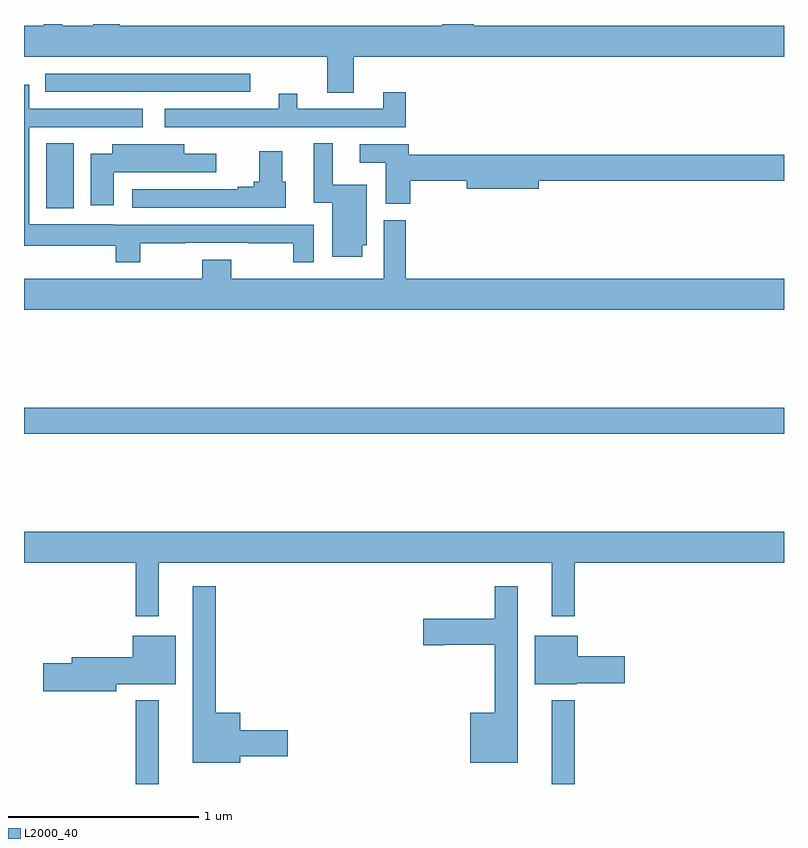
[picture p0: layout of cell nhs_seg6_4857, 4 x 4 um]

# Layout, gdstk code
import gdstk
lib = gdstk.Library(unit=1e-6, precision=1e-09)
def R(c, l, rs):  # rectangles x0, y0, x1, y1
    for r in rs: c.add(gdstk.rectangle(r[:2], r[2:], *l))
def P(c, l, *ps):  # polygons
    for p in ps: c.add(gdstk.Polygon(p, *l))
L2000_40 = (2000, 40)

nhs_seg6_4857 = lib.new_cell('nhs_seg6_4857')
R(nhs_seg6_4857, L2000_40, [(399.588,951.5,399.709,951.94), (401.777,951.5,401.899,951.94), (399,953.344,403,953.48), (399.116,954.531,399.262,954.872), (399.113,955.143,400.192,955.239)])
P(nhs_seg6_4857, L2000_40, [(400.735,955.328),(403,955.328),(403,955.492),(401.366,955.492),(401.366,955.5),(401.201,955.5),(401.201,955.492),(399.505,955.492),(399.505,955.5),(399.365,955.5),(399.365,955.492),(399.202,955.492),(399.202,955.5),(399.105,955.5),(399.105,955.492),(399,955.492),(399,955.328),(400.595,955.328),(400.595,955.138),(400.735,955.138)],
  [(399.613,954.347),(399.848,954.347),(399.848,954.348),(400.18,954.348),(400.18,954.347),(400.416,954.347),(400.416,954.245),(400.524,954.245),(400.524,954.444),(399.468,954.444),(399.468,954.445),(399.028,954.445),(399.028,954.957),(399.625,954.957),(399.625,955.053),(399.028,955.053),(399.028,955.18),(399,955.18),(399,954.332),(399.484,954.332),(399.484,954.245),(399.613,954.245)],
  [(401.009,955.141),(400.892,955.141),(400.892,955.053),(400.438,955.053),(400.438,955.132),(400.34,955.132),(400.34,955.053),(399.741,955.053),(399.741,954.957),(401.009,954.957)],
  [(400.78,954.336),(400.804,954.336),(400.804,954.654),(400.624,954.654),(400.624,954.872),(400.526,954.872),(400.526,954.558),(400.622,954.558),(400.622,954.276),(400.78,954.276)],
  [(399.472,954.719),(399.74,954.719),(399.74,954.72),(400.012,954.72),(400.012,954.817),(399.844,954.817),(399.844,954.868),(399.464,954.868),(399.464,954.817),(399.35,954.817),(399.35,954.546),(399.472,954.546)],
  [(401.034,954.676),(401.33,954.676),(401.33,954.634),(401.71,954.634),(401.71,954.676),(403,954.676),(403,954.812),(401.026,954.812),(401.026,954.867),(400.767,954.867),(400.767,954.771),(400.904,954.771),(400.904,954.553),(401.034,954.553)],
  [(400.378,954.669),(400.36,954.669),(400.36,954.829),(400.238,954.829),(400.238,954.669),(400.208,954.669),(400.208,954.643),(400.124,954.643),(400.124,954.63),(399.57,954.63),(399.57,954.534),(400.378,954.534)],
  [(403,954.16),(401.009,954.16),(401.009,954.468),(400.893,954.468),(400.893,954.16),(400.092,954.16),(400.092,954.259),(399.937,954.259),(399.937,954.16),(399,954.16),(399,953.996),(403,953.996)],
  [(399.709,952.664),(401.777,952.664),(401.777,952.383),(401.899,952.383),(401.899,952.664),(403,952.664),(403,952.828),(399,952.828),(399,952.664),(399.588,952.664),(399.588,952.383),(399.709,952.383)],
  [(400.138,951.647),(400.387,951.647),(400.387,951.782),(400.138,951.782),(400.138,951.874),(400.009,951.874),(400.009,952.54),(399.887,952.54),(399.887,951.611),(400.138,951.611)],
  [(401.599,952.54),(401.478,952.54),(401.478,952.371),(401.1,952.371),(401.1,952.229),(401.212,952.229),(401.212,952.234),(401.478,952.234),(401.478,951.874),(401.348,951.874),(401.348,951.611),(401.599,951.611)],
  [(399.486,952.025),(399.799,952.025),(399.799,952.279),(399.572,952.279),(399.572,952.166),(399.251,952.166),(399.251,952.136),(399.102,952.136),(399.102,951.989),(399.486,951.989)],
  [(401.91,952.031),(402.163,952.031),(402.163,952.173),(401.914,952.173),(401.914,952.279),(401.687,952.279),(401.687,952.025),(401.91,952.025)])

lib.write_gds('nhs_seg6_4857.gds')
